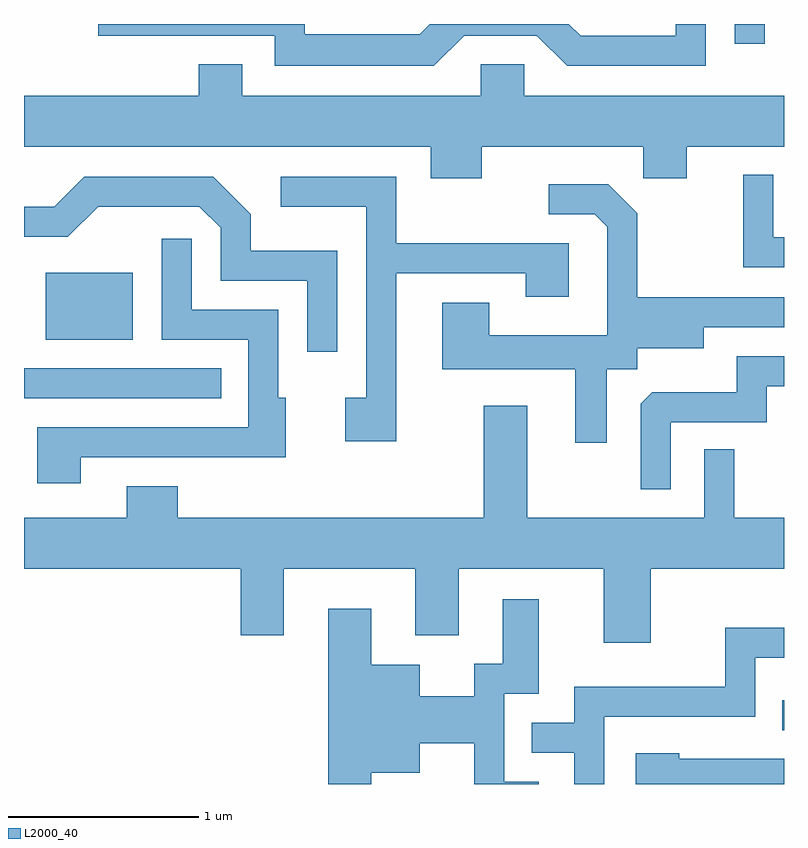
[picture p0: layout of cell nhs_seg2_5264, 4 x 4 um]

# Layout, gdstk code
import gdstk
lib = gdstk.Library(unit=1e-6, precision=1e-09)
def R(c, l, rs):  # rectangles x0, y0, x1, y1
    for r in rs: c.add(gdstk.rectangle(r[:2], r[2:], *l))
def P(c, l, *ps):  # polygons
    for p in ps: c.add(gdstk.Polygon(p, *l))
L2000_40 = (2000, 40)

nhs_seg2_5264 = lib.new_cell('nhs_seg2_5264')
R(nhs_seg2_5264, L2000_40, [(343.603,1094.086,343.611,1094.244), (339.611,1095.831,340.648,1095.989), (339.726,1096.141,340.184,1096.494), (343.351,1097.698,343.509,1097.802)])
P(nhs_seg2_5264, L2000_40, [(341.927,1097.741),(342.309,1097.741),(342.469,1097.581),(343.199,1097.581),(343.199,1097.802),(343.041,1097.802),(343.041,1097.739),(342.542,1097.739),(342.479,1097.802),(341.747,1097.802),(341.694,1097.749),(341.089,1097.749),(341.089,1097.802),(340.003,1097.802),(340.003,1097.741),(340.931,1097.741),(340.931,1097.581),(341.767,1097.581)],
  [(342.019,1097.156),(342.871,1097.156),(342.871,1096.991),(343.099,1096.991),(343.099,1097.156),(343.611,1097.156),(343.611,1097.424),(342.244,1097.424),(342.244,1097.589),(342.016,1097.589),(342.016,1097.424),(340.759,1097.424),(340.759,1097.589),(340.531,1097.589),(340.531,1097.424),(339.611,1097.424),(339.611,1097.156),(341.751,1097.156),(341.751,1096.991),(342.019,1096.991)],
  [(343.611,1096.679),(343.554,1096.679),(343.554,1097.008),(343.396,1097.008),(343.396,1096.521),(343.611,1096.521)],
  [(341.259,1096.609),(340.804,1096.609),(340.804,1096.802),(340.607,1096.999),(339.929,1096.999),(339.769,1096.839),(339.611,1096.839),(339.611,1096.681),(339.842,1096.681),(340.002,1096.841),(340.534,1096.841),(340.646,1096.729),(340.646,1096.451),(341.101,1096.451),(341.101,1096.078),(341.259,1096.078)],
  [(341.569,1096.491),(342.251,1096.491),(342.251,1096.366),(342.479,1096.366),(342.479,1096.649),(341.569,1096.649),(341.569,1096.999),(340.963,1096.999),(340.963,1096.841),(341.411,1096.841),(341.411,1095.834),(341.301,1095.834),(341.301,1095.606),(341.569,1095.606)],
  [(342.679,1095.986),(342.839,1095.986),(342.839,1096.096),(343.189,1096.096),(343.189,1096.206),(343.611,1096.206),(343.611,1096.364),(342.839,1096.364),(342.839,1096.807),(342.687,1096.959),(342.373,1096.959),(342.373,1096.801),(342.614,1096.801),(342.681,1096.734),(342.681,1096.164),(342.059,1096.164),(342.059,1096.334),(341.811,1096.334),(341.811,1095.986),(342.511,1095.986),(342.511,1095.598),(342.679,1095.598)],
  [(339.909,1095.521),(340.989,1095.521),(340.989,1095.834),(340.949,1095.834),(340.949,1096.299),(340.494,1096.299),(340.494,1096.673),(340.336,1096.673),(340.336,1096.141),(340.791,1096.141),(340.791,1095.679),(339.681,1095.679),(339.681,1095.386),(339.909,1095.386)],
  [(343.014,1095.706),(343.519,1095.706),(343.519,1095.896),(343.611,1095.896),(343.611,1096.054),(343.361,1096.054),(343.361,1095.864),(342.917,1095.864),(342.856,1095.804),(342.856,1095.353),(343.014,1095.353)],
  [(342.909,1094.936),(343.611,1094.936),(343.611,1095.204),(343.349,1095.204),(343.349,1095.563),(343.191,1095.563),(343.191,1095.204),(342.259,1095.204),(342.259,1095.794),(342.031,1095.794),(342.031,1095.204),(340.419,1095.204),(340.419,1095.369),(340.151,1095.369),(340.151,1095.204),(339.611,1095.204),(339.611,1094.936),(340.751,1094.936),(340.751,1094.586),(340.979,1094.586),(340.979,1094.936),(341.671,1094.936),(341.671,1094.586),(341.899,1094.586),(341.899,1094.936),(342.661,1094.936),(342.661,1094.546),(342.909,1094.546)],
  [(341.439,1093.861),(341.694,1093.861),(341.694,1094.016),(341.981,1094.016),(341.981,1093.802),(342.319,1093.802),(342.319,1093.814),(342.139,1093.814),(342.139,1094.276),(342.319,1094.276),(342.319,1094.774),(342.131,1094.774),(342.131,1094.434),(341.981,1094.434),(341.981,1094.264),(341.694,1094.264),(341.694,1094.429),(341.439,1094.429),(341.439,1094.724),(341.211,1094.724),(341.211,1093.802),(341.439,1093.802)],
  [(342.664,1094.156),(343.459,1094.156),(343.459,1094.466),(343.611,1094.466),(343.611,1094.624),(343.301,1094.624),(343.301,1094.314),(342.506,1094.314),(342.506,1094.124),(342.283,1094.124),(342.283,1093.966),(342.506,1093.966),(342.506,1093.802),(342.664,1093.802)],
  [(343.611,1093.934),(343.059,1093.934),(343.059,1093.964),(342.831,1093.964),(342.831,1093.802),(343.611,1093.802)])

lib.write_gds('nhs_seg2_5264.gds')
